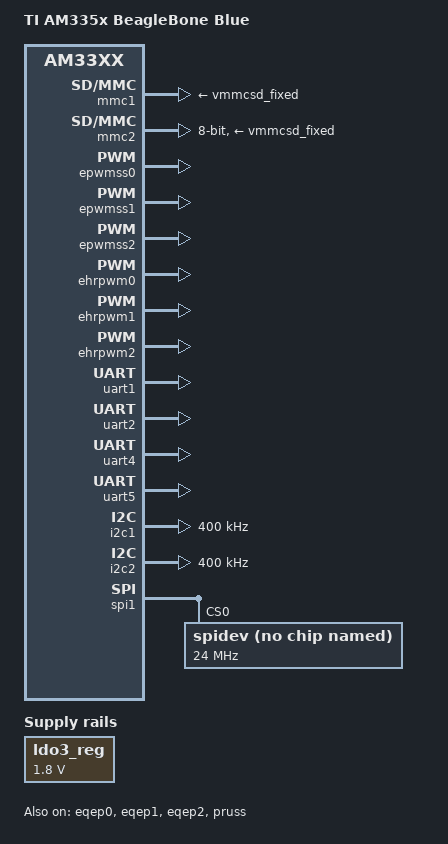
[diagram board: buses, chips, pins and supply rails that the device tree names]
/*
 * Copyright (C) 2012 Texas Instruments Incorporated - http://www.ti.com/
 *
 * This program is free software; you can redistribute it and/or modify
 * it under the terms of the GNU General Public License version 2 as
 * published by the Free Software Foundation.
 */
/dts-v1/;

#include "am33xx.dtsi"
#include "am335x-bone-common-no-capemgr.dtsi"
#include "am335x-bone-common-universal.dtsi"
#include "am33xx-overlay-edma-fix.dtsi"
#include "am335x-boneblue-wl1835.dtsi"
/* #include "am335x-bone-jtag.dtsi" */

/* pruss: pick one: */

/*
 * /etc/modprobe.d/pruss-blacklist.conf
 *
 * blacklist uio_pruss
 */

/* #include "am33xx-pruss-rproc.dtsi" */

/*
 * /etc/modprobe.d/pruss-blacklist.conf
 *
 * blacklist pruss
 * blacklist pruss_intc
 * blacklist pru-rproc
 */

/* #include "am33xx-pruss-uio.dtsi" */

/ {
	model = "TI AM335x BeagleBone Blue";
	compatible = "ti,am335x-bone-blue", "ti,am335x-bone", "ti,am33xx";
};

&ldo3_reg {
	regulator-min-microvolt = <1800000>;
	regulator-max-microvolt = <1800000>;
	regulator-always-on;
};

&mmc1 {
	vmmc-supply = <&vmmcsd_fixed>;
};

&mmc2 {
	vmmc-supply = <&vmmcsd_fixed>;
	pinctrl-names = "default";
	pinctrl-0 = <&emmc_pins>;
	bus-width = <8>;
	status = "okay";
};

&mac {
	status = "disabled";
};

&cpu0_opp_table {
	/*
	 * All PG 2.0 silicon may not support 1GHz but some of the early
	 * BeagleBone Blacks have PG 2.0 silicon which is guaranteed
	 * to support 1GHz OPP so enable it for PG 2.0 on this board.
	 */
	oppnitro@1000000000 {
		opp-supported-hw = <0x06 0x0100>;
	};
};



/****************************************
* Pin Muxing
****************************************/
&am33xx_pinmux {
	mux_helper_pins: pins {
		pinctrl-single,pins = <
			/* HRPWM 1 */
			0x048  0x6 /* P9_14 | MODE 6 */
			0x04c  0x6 /* P9_16 | MODE 6 */

			/* HRPWM 2 */
			0x020  0x4 /* P8_19 | MODE 4 */
			0x024  0x4 /* P8_13 | MODE 4 */

			/* EQEP */
			0x1A0 0x31  /* P9_42,EQEP0A, MODE1 */
			0x1A4 0x31  /* P9_27,EQEP0B, MODE1 */
			0x0D4 0x32  /* P8_33,EQEP1B, MODE2 */
			0x0D0 0x32  /* P8_35,EQEP1A, MODE2 */
			0x030 0x34  /* P8_12,EQEP2A_in, MODE4 */
			0x034 0x34  /* P8_11,EQEP2B_in, MODE4 */

			/* PRU encoder input */
			0x03c 0x36	/* P8_15,PRU0_r31_15,MODE6 */
			0x038 0x36	/* P8_16,PRU0_r31_16,MODE6 */

			/* PRU Servo output */
			0x0e0 0x25	/*pru1_pru_r30_8, MODE5*/
			0x0e8 0x25	/*pru1_pru_r30_10, MODE5 */
			0x0e4 0x25	/*pr1_pru1_pru_r30_9, MODE5 */
			0x0ec 0x25	/*pru1_pru_r30_11, MODE5 */
			0x0b8 0x25	/*pru1_pru_r30_6, MODE5 */
			0x0bc 0x25	/*pru1_pru_r30_7, MODE5 */
			0x0b0 0x25	/*pru1_pru_r30_4, MODE5 */
			0x0b4 0x25	/*pru1_pru_r30_5, MODE5 */

			/* GPIO Inputs */
			0x09c 0x37	/*P8.9  Pause BUTTON, input pullup*/
			0x098 0x37	/*P8.10 MODE BUTTON input pullup*/
			0x1AC 0x37	/*P9.25 MPU-9150 INTERRUPT IN*/

			/* GPIO Outputs
			0x090 0x0F	/*P8.7 - R7*/
			0x094 0x0F	/*P8.8*/
			0x028 0x0F	/*P8.14*/
			0x02C 0x0F	/*P8.17*/
			0x08c 0x0F	/*P8.18*/
			0x07c 0x0F	/*P8.26*/
			/* 0x0?? 0x0F	/*P8.32 - T5 - BATT_LED3 */
			0x0cc 0x0F	/*P8.34*/
			0x0C8 0x0F	/*P8.36*/
			0x0a8 0x0F	/*P8.43*/
			0x0ac 0x0F	/*P8.44*/
			0x0a0 0x0F	/*P8.45*/
			0x0a4 0x0F	/*P8.46*/
			0x078 0x0F	/*P9.12*/
			0x074 0x0F	/*P9.13*/
			0x040 0x0F	/*P9.15*/
			0x044 0x0F	/*P9.23*/
			0x19C 0x0F	/*P9.28*/
			0x1b4 0x0F	/*P9.41*/

			/* SPI1 */
			/* 0x190 0x33	/*spi1_sclk,INPUT_PULLUP,MODE3 */
			/* 0x194 0x33	/*spi1_d0,INPUT_PULLUP,MODE3 */
			/* 0x198 0x13	/*spi1_d1,OUTPUT_PULLUP,MODE3 */
			/* 0x19c 0x0F	/*spi1_cs0,OUTPUT_PULLUP,MODE7 */

			/* UART1 */
			0x184 0x10 /*P9.24,uart1_txd,MODE0,OUTPUT*/
			0x180 0x30 /*P9.26,uart1_rxd,MODE0,INPUT*/

			/* UART2 */
			0x150 0x21	/*P9.22,uart2_rxd,MODE1 */
			0x154 0x11	/*P9.21,uart2_txd,MODE1 */


			/* UART5 */
			0x0C4 0x34	/* P8.38,uart5_rxd,MODE4 */
			0x0C0 0x14	/* P8.37,uart5_txd,MODE4 */

		>;
	};

	i2c1_pins: pinmux_i2c1_pins {
		pinctrl-single,pins = <
			/* I2C1 */
			AM33XX_IOPAD(0x15C, PIN_INPUT_PULLUP | MUX_MODE3) /* P9.17,i2c1_scl */
			0x158 0x32	/* P9.18,i2c1_sda,INPUT_PULLUP,MODE2 */

		>;
	};

	i2c2_pins: pinmux_i2c2_pins {
		pinctrl-single,pins = <
			AM33XX_IOPAD(0x978, PIN_INPUT_PULLUP | MUX_MODE3)	/* uart1_ctsn.i2c2_sda */
			AM33XX_IOPAD(0x97c, PIN_INPUT_PULLUP | MUX_MODE3)	/* uart1_rtsn.i2c2_scl */
		>;
	};

	/****************************************/
	/* DSM2 UART4 pinmux                    */
	/* only pin that swaps between GPIO&UART*/
	/****************************************/
	P9_11_default_pin: pinmux_P9_11_default_pin {
		pinctrl-single,pins = <0x070  0x36>; };     /* Mode 6 uart */
	P9_11_gpio_pin: pinmux_P9_11_gpio_pin {
		pinctrl-single,pins = <0x070  0x2F>; };     /* Mode 7, RxActive */
	P9_11_gpio_pu_pin: pinmux_P9_11_gpio_pu_pin {
		pinctrl-single,pins = <0x070  0x37>; };     /* Mode 7, Pull-Up, RxActive */
	P9_11_gpio_pd_pin: pinmux_P9_11_gpio_pd_pin {
		pinctrl-single,pins = <0x070  0x27>; };     /* Mode 7, Pull-Down, RxActive */
	P9_11_uart_pin: pinmux_P9_11_uart_pin {
		pinctrl-single,pins = <0x070  0x36>; };     /* Mode 6, uart */
};

&ocp {
    /****************************************
    *    activates the pinmux helper list of pin modes
    ****************************************/
	test_helper: helper {
		compatible = "bone-pinmux-helper";
		pinctrl-names = "default";
		pinctrl-0 = <&mux_helper_pins>;

		status = "okay";
	};

    /****************************************
    *    configurable DSM2 pin swaps between GPIO & UART4 at runtime
    ****************************************/
	P9_11_pinmux {
		compatible = "bone-pinmux-helper";
		status = "okay";
		pinctrl-names = "default", "gpio", "gpio_pu", "gpio_pd", "uart";

		pinctrl-0 = <&P9_11_default_pin>;
		pinctrl-1 = <&P9_11_gpio_pin>;
		pinctrl-2 = <&P9_11_gpio_pu_pin>;
		pinctrl-3 = <&P9_11_gpio_pd_pin>;
		pinctrl-4 = <&P9_11_uart_pin>;
	};
};


/****************************************
		PWMSS
****************************************/
&epwmss0 {
	status = "okay";
};

&epwmss1 {
	status = "okay";
};

&epwmss2 {
	status = "okay";
};



&ehrpwm0 {
	status = "okay";
};

&ehrpwm1 {
	status = "okay";
};

&ehrpwm2 {
	status = "okay";
};


&eqep0 {
	count_mode = <0>;  /* 0 - Quadrature mode, normal 90 phase offset cha & chb.  1 - Direction mode.  cha input = clock, chb input = direction */
	swap_inputs = <0>; /* Are channel A and channel B swapped? (0 - no, 1 - yes) */
	invert_qa = <1>;   /* Should we invert the channel A input?  */
	invert_qb = <1>;   /* Should we invert the channel B input? I invert these because my encoder outputs drive transistors that pull down the pins */
	invert_qi = <0>;   /* Should we invert the index input? */
	invert_qs = <0>;   /* Should we invert the strobe input? */

	status = "okay";
};

&eqep1 {
	count_mode = <0>;  /* 0 - Quadrature mode, normal 90 phase offset cha & chb.  1 - Direction mode.  cha input = clock, chb input = direction */
	swap_inputs = <0>; /* Are channel A and channel B swapped? (0 - no, 1 - yes) */
	invert_qa = <1>;   /* Should we invert the channel A input?  */
	invert_qb = <1>;   /* Should we invert the channel B input? I invert these because my encoder outputs drive transistors that pull down the pins */
	invert_qi = <0>;   /* Should we invert the index input? */
	invert_qs = <0>;   /* Should we invert the strobe input? */

	status = "okay";
};

&eqep2 {
	count_mode = <0>;  /* 0 - Quadrature mode, normal 90 phase offset cha & chb.  1 - Direction mode.  cha input = clock, chb input = direction */
	swap_inputs = <0>; /* Are channel A and channel B swapped? (0 - no, 1 - yes) */
	invert_qa = <1>;   /* Should we invert the channel A input?  */
	invert_qb = <1>;   /* Should we invert the channel B input? I invert these because my encoder outputs drive transistors that pull down the pins */
	invert_qi = <0>;   /* Should we invert the index input? */
	invert_qs = <0>;   /* Should we invert the strobe input? */

	status = "okay";
};


/****************************************
	UART

	UART 1, 2, 5 are used on the cape.
	The Beaglebone Blue uses others so all are enabled here.
****************************************/

&uart1 {
	status = "okay";
};

&uart2 {
	status = "okay";
};

&uart4 {
	status = "okay";
};

&uart5 {
	status = "okay";
};


/****************************************
		PRU
****************************************/
&pruss {
	status = "okay";
};


/****************************************
		I2C
****************************************/
&i2c1 {	        /* i2c1 is numbered correctly */
	status = "okay";

	/* this is the configuration part */
	clock-frequency = <400000>;

	#address-cells = <1>;
	#size-cells = <0>;

	/* add any i2c devices on the bus here */
};

&i2c2 {	        /* i2c2 is numbered correctly */
	pinctrl-names = "default";
	pinctrl-0 = <&i2c2_pins>;

	status = "okay";
	clock-frequency = <400000>;

	#address-cells = <1>;
	#size-cells = <0>;

	/* add any i2c devices on the bus here */
};

/****************************************
		SPI
****************************************/
&spi1 {
	pinctrl-names = "default";
	pinctrl-0 = <&P9_31_spi_pin	/* spi1_sclk */
		&P9_29_spi_pin		/* spi1_d0 */
		&P9_30_spi_pin		/* spi1_d1 */
		&P9_28_gpio_pu_pin	/* gpio?_? */
	>;

    #address-cells = <1>;
    #size-cells = <0>;
    status = "okay";

    spidev@1 {
         spi-max-frequency = <24000000>;
         reg = <0>;
         compatible = "linux,spidev";
    };
};
